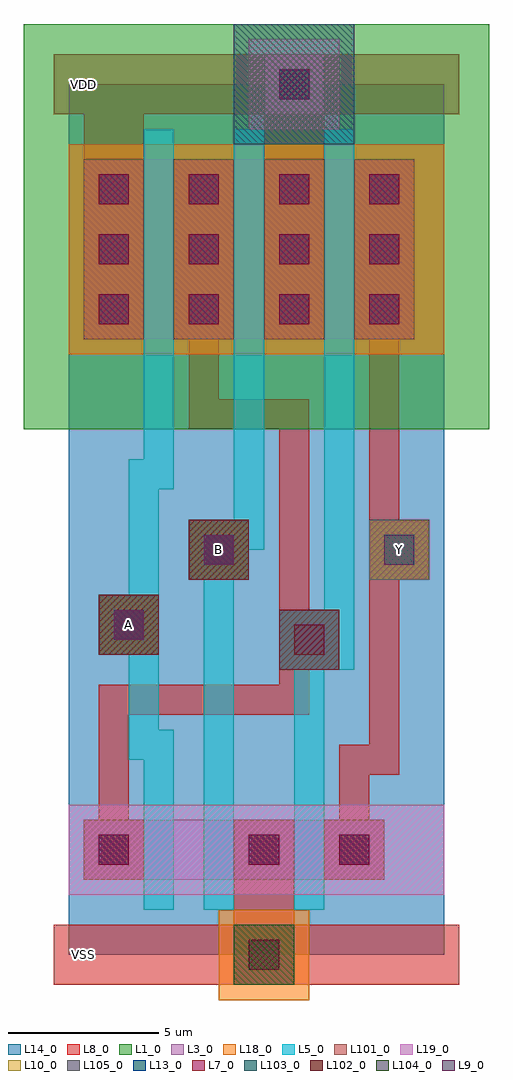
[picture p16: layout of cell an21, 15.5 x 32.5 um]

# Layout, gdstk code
import gdstk
lib = gdstk.Library(unit=1e-6, precision=1e-09)
def R(c, l, rs):  # rectangles x0, y0, x1, y1
    for r in rs: c.add(gdstk.rectangle(r[:2], r[2:], *l))
L1_0 = (1, 0)
L3_0 = (3, 0)
L5_0 = (5, 0)
L7_0 = (7, 0)
L8_0 = (8, 0)
L9_0 = (9, 0)
L10_0 = (10, 0)
L13_0 = (13, 0)
L14_0 = (14, 0)
L18_0 = (18, 0)
L19_0 = (19, 0)
L101_0 = (101, 0)
L102_0 = (102, 0)
L103_0 = (103, 0)
L104_0 = (104, 0)
L105_0 = (105, 0)

dcont = lib.new_cell('dcont')
R(dcont, L3_0, [(-1,-1,1,1)])
R(dcont, L7_0, [(-0.5,-0.5,0.5,0.5)])
R(dcont, L8_0, [(-1,-1,1,1)])
R(dcont, L13_0, [(-0.5,-0.5,0.5,0.5)])
R(dcont, L101_0, [(-1,-1,1,1)])
dcont.add(gdstk.Label('dcont', (0,0), layer=13, texttype=0))

pcont = lib.new_cell('pcont')
R(pcont, L5_0, [(-1,-1,1,1)])
R(pcont, L7_0, [(-0.5,-0.5,0.5,0.5)])
R(pcont, L8_0, [(-1,-1,1,1)])
R(pcont, L102_0, [(-1,-1,1,1)])
pcont.add(gdstk.Label('pcont', (0,0), layer=13, texttype=0))

via = lib.new_cell('Via')
R(via, L8_0, [(-1,-1,1,1)])
R(via, L9_0, [(-0.5,-0.5,0.5,0.5)])
R(via, L10_0, [(-1,-1,1,1)])
R(via, L13_0, [(-0.5,-0.5,0.5,0.5)])
R(via, L105_0, [(-1,-1,1,1)])
via.add(gdstk.Label('via', (0,0), layer=13, texttype=0))

psubcont = lib.new_cell('psubcont')
R(psubcont, L18_0, [(-1.5,-1.5,1.5,1.5)])
R(psubcont, L104_0, [(-1,-1,1,1)])
psubcont.add(gdstk.Reference(dcont, (0,0)))
psubcont.add(gdstk.Label('PScon', (0,0), layer=13, texttype=0))

nsubcont = lib.new_cell('nsubcont')
R(nsubcont, L1_0, [(-2,-2,2,2)])
R(nsubcont, L19_0, [(-1.5,-1.5,1.5,1.5)])
R(nsubcont, L103_0, [(-2,-2,2,2)])
nsubcont.add(gdstk.Reference(dcont, (0,0)))
nsubcont.add(gdstk.Label('NScont', (0,0), layer=13, texttype=0))

an21 = lib.new_cell('an21')
R(an21, L1_0, [(-1.5,17.5,14,31)])
R(an21, L3_0, [(0.5,2.5,10.5,4.5), (0.5,20.5,11.5,26.5)])
R(an21, L8_0, [(-0.5,-1,13,1), (-0.5,-1,13,1), (1,10,3,12), (1,10,3,12), (4,12.5,6,14.5), (4,12.5,6,14.5), (10,12.5,12,14.5), (10,12.5,12,14.5), (-0.5,28,13,30), (-0.5,28,13,30)])
R(an21, L10_0, [(1,10,3,12), (1,10,3,12), (4,12.5,6,14.5), (4,12.5,6,14.5), (10,12.5,12,14.5), (10,12.5,12,14.5)])
R(an21, L14_0, [(0,0,12.5,29)])
R(an21, L18_0, [(0,20,12.5,27)])
R(an21, L19_0, [(0,2,12.5,5)])
R(an21, L105_0, [(1,10,3,12), (4,12.5,6,14.5), (10,12.5,12,14.5)])
an21.add(gdstk.FlexPath([(3,27),(3,16),(2.5,16),(2.5,7),(3,7),(3,2)], 1, ends="extended", simple_path=True, layer=5, datatype=0))  # L5_0
an21.add(gdstk.FlexPath([(6,27),(6,14),(5,14),(5,2)], 1, ends="extended", simple_path=True, layer=5, datatype=0))  # L5_0
an21.add(gdstk.FlexPath([(9,27),(9,10),(8,10),(8,2)], 1, ends="extended", simple_path=True, layer=5, datatype=0))  # L5_0
an21.add(gdstk.FlexPath([(1.5,21.5),(1.5,28.5)], 2, ends="extended", simple_path=True, layer=8, datatype=0))  # L8_0
an21.add(gdstk.FlexPath([(4.5,20.5),(4.5,18),(7.5,18),(7.5,8.5),(1.5,8.5),(1.5,3.5)], 1, ends="extended", simple_path=True, layer=8, datatype=0))  # L8_0
an21.add(gdstk.FlexPath([(4.5,22.3),(4.5,25.5)], 1.4, ends="extended", simple_path=True, layer=8, datatype=0))  # L8_0
an21.add(gdstk.FlexPath([(6.5,0),(6.5,3.5)], 2, ends="extended", simple_path=True, layer=8, datatype=0))  # L8_0
an21.add(gdstk.FlexPath([(7.5,21.5),(7.5,28.5)], 2, ends="extended", simple_path=True, layer=8, datatype=0))  # L8_0
an21.add(gdstk.FlexPath([(10.5,20.5),(10.5,6.5),(9.5,6.5),(9.5,3.5)], 1, ends="extended", simple_path=True, layer=8, datatype=0))  # L8_0
an21.add(gdstk.FlexPath([(10.5,22.3),(10.5,25.5)], 1.4, ends="extended", simple_path=True, layer=8, datatype=0))  # L8_0
an21.add(gdstk.Reference(dcont, (4.5,21.5)))
an21.add(gdstk.Reference(dcont, (1.5,23.5)))
an21.add(gdstk.Reference(pcont, (5,13.5)))
an21.add(gdstk.Reference(pcont, (2,11)))
an21.add(gdstk.Reference(dcont, (4.5,23.5)))
an21.add(gdstk.Reference(via, (5,13.5)))
an21.add(gdstk.Reference(pcont, (8,10.5)))
an21.add(gdstk.Reference(dcont, (7.5,21.5)))
an21.add(gdstk.Reference(dcont, (10.5,23.5)))
an21.add(gdstk.Reference(dcont, (1.5,3.5)))
an21.add(gdstk.Reference(psubcont, (6.5,0)))
an21.add(gdstk.Reference(via, (2,11)))
an21.add(gdstk.Reference(dcont, (10.5,25.5)))
an21.add(gdstk.Reference(dcont, (6.5,3.5)))
an21.add(gdstk.Reference(dcont, (1.5,21.5)))
an21.add(gdstk.Reference(dcont, (7.5,25.5)))
an21.add(gdstk.Reference(dcont, (1.5,25.5)))
an21.add(gdstk.Reference(via, (11,13.5)))
an21.add(gdstk.Reference(nsubcont, (7.5,29)))
an21.add(gdstk.Reference(dcont, (10.5,21.5)))
an21.add(gdstk.Reference(dcont, (4.5,25.5)))
an21.add(gdstk.Reference(dcont, (7.5,23.5)))
an21.add(gdstk.Reference(dcont, (9.5,3.5)))
an21.add(gdstk.Label('VSS', (0.5,0), layer=8, texttype=0))
an21.add(gdstk.Label('VDD', (0.5,29), layer=8, texttype=0))
an21.add(gdstk.Label('A', (2,11), layer=10, texttype=0))
an21.add(gdstk.Label('B', (5,13.5), layer=10, texttype=0))
an21.add(gdstk.Label('Y', (11,13.5), layer=10, texttype=0))
an21.add(gdstk.Label('via', (11,13.5), layer=13, texttype=0))
an21.add(gdstk.Label('via', (5,13.5), layer=13, texttype=0))
an21.add(gdstk.Label('via', (2,11), layer=13, texttype=0))

lib.write_gds('an21.gds')
